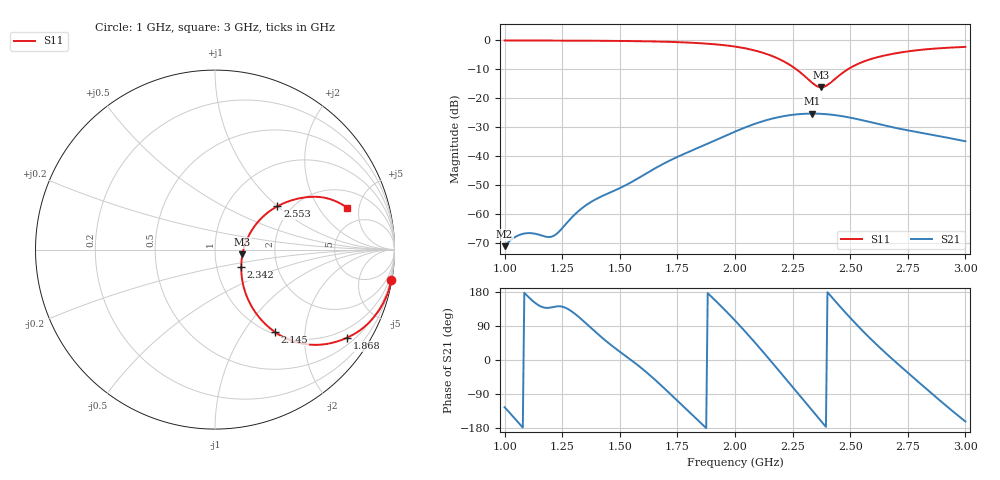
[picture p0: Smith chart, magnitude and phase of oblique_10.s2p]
! TOUCHSTONE file generated by CST MICROWAVE STUDIO
! Date and time: Tue Mar 18 00:00:47 2025
! Project name: oblique.cst
! Parameters = {Tilt=30; Fracture=1; B=10; D=160; F=5; Feed=2.85625; L=100; M=10; R=0.384908; S=2; Theta=90; length=57.125; wave=114.25}
! Header version: 2024
! Port assignment regex: !\s*Touchstone port\s*([0-9]+)\s*=\s*(CST MWS port|CST DES external port|CST DES block port)\s*(.+)\s* \(\"(.*)\"\)(\s*mode\s*([0-9]+))?.*
! Touchstone port assignment:
! Touchstone port 1 = CST MWS port 1 ("")
! Touchstone port 2 = CST MWS port 2 ("")
# GHz S DB R 50
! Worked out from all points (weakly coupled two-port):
!   305 points, 1 GHz to 3 GHz, reference 50 ohm
!   highest |S21| = -25.26 dB at 2.336 GHz (marker M1); lowest = -71.0 dB at 1 GHz (marker M2)
!   lowest |S11| = -16.2 dB at 2.375 GHz (marker M3), VSWR 1.37, Z = 68 - j3.62 ohm
!   |S11| at or under -10 dB: 2.267 GHz to 2.489 GHz (222.6 MHz wide, 9.36 % of centre)
!   S12 and S22 are empty: the file has one direction only
!   S11 on the Smith chart (normalised r, x): 1 GHz: 0, -12; 1.868 GHz: 0.70, -3.15; 2.145 GHz: 1.04, -1.41; 2.342 GHz: 1.31, -0.27; 2.553 GHz: 1.70, +1.00; 3 GHz: 3.25, +3.77
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1  -0.02 -9.8  -71.00 -124.6  -200.00 0.0  -200.00 0.0
1.03947  -0.02 -10.3  -68.13 -151.3  -200.00 0.0  -200.00 0.0
1.08553  -0.03 -11.0  -66.63 177.4  -200.00 0.0  -200.00 0.0
1.18421  -0.04 -12.5  -67.80 137.4  -200.00 0.0  -200.00 0.0
1.21053  -0.05 -12.9  -67.53 139.7  -200.00 0.0  -200.00 0.0
1.33553  -0.09 -15.3  -57.92 106.4  -200.00 0.0  -200.00 0.0
1.39474  -0.12 -16.5  -54.85 73.9  -200.00 0.0  -200.00 0.0
1.52632  -0.21 -19.8  -49.94 10.1  -200.00 0.0  -200.00 0.0
1.67105  -0.41 -24.5  -43.35 -62.3  -200.00 0.0  -200.00 0.0
1.86842  -1.07 -33.8  -36.09 -175.9  -200.00 0.0  -200.00 0.0
2  -2.13 -42.7  -31.48 104.2  -200.00 0.0  -200.00 0.0
2.14474  -4.90 -53.9  -27.34 5.0  -200.00 0.0  -200.00 0.0
2.24342  -8.72 -57.1  -25.74 -66.7  -200.00 0.0  -200.00 0.0
2.33553  -14.66 -37.7  -25.26 -134.0  -200.00 0.0  -200.00 0.0
2.34211  -15.08 -34.0  -25.26 -138.8  -200.00 0.0  -200.00 0.0
2.375  -16.18 -9.6  -25.34 -162.5  -200.00 0.0  -200.00 0.0
2.40132  -15.37 9.9  -25.49 178.8  -200.00 0.0  -200.00 0.0
2.46711  -11.20 32.2  -26.17 133.3  -200.00 0.0  -200.00 0.0
2.55263  -7.47 34.8  -27.55 77.8  -200.00 0.0  -200.00 0.0
2.67105  -4.84 30.4  -29.76 8.9  -200.00 0.0  -200.00 0.0
2.82895  -3.08 23.6  -32.16 -75.3  -200.00 0.0  -200.00 0.0
3  -2.24 17.6  -34.80 -162.2  -200.00 0.0  -200.00 0.0
